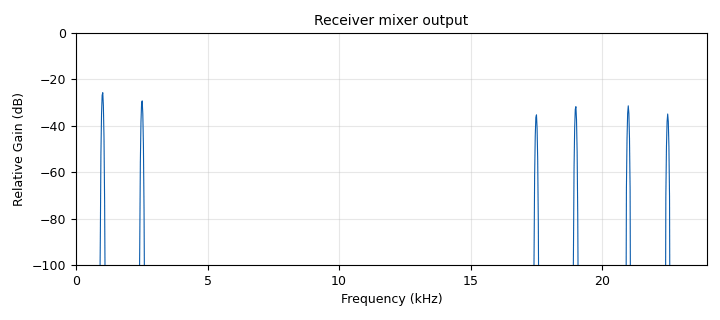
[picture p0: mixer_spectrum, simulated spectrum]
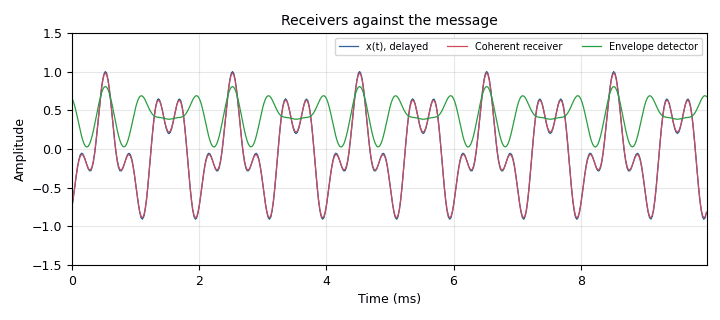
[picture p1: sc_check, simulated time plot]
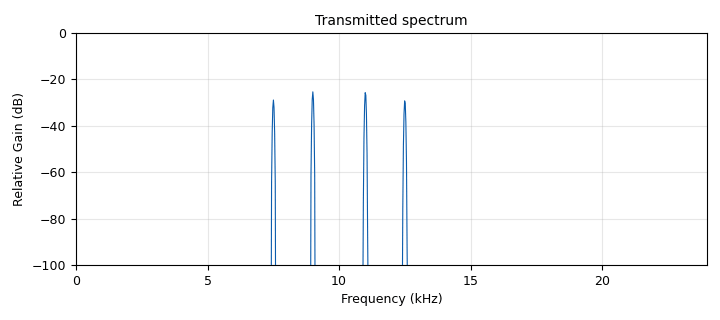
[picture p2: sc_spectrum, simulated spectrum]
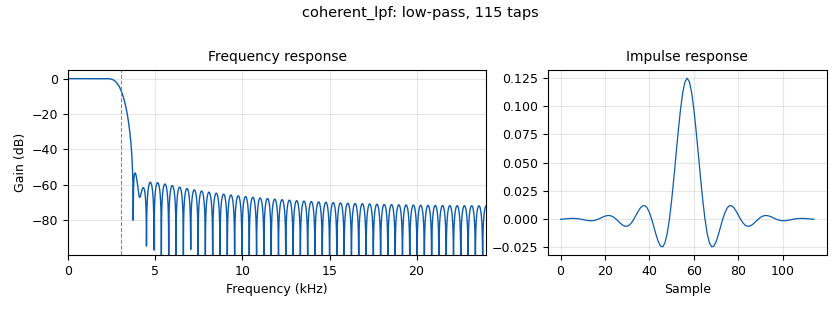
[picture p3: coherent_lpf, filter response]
options:
  parameters:
    author: ECE 448
    description: 'L6: the same message as DSB-SC, with no carrier. A coherent receiver recovers it; an envelope detector cannot. Turn the LO phase toward 90 degrees.'
    generate_options: qt_gui
    id: L06_dsb_sc
    output_language: python
    title: L6 - DSB-SC
  states: {}

blocks:
- name: fc
  id: variable
  parameters:
    value: '10000'
  states: {}
- name: listen
  id: variable_qtgui_chooser
  parameters:
    gui_hint: 0,2,1,1
    label: Listen to
    label0: Coherent
    label1: Envelope
    num_opts: '2'
    option0: '0'
    option1: '1'
    type: int
    value: '0'
  states: {}
- name: lpf_taps
  id: variable_low_pass_filter_taps
  parameters:
    cutoff_freq: '3000'
    gain: '1.0'
    samp_rate: samp_rate
    width: '1000'
    win: window.WIN_HAMMING
  states: {}
- name: phi
  id: variable_qtgui_range
  parameters:
    gui_hint: 0,0,1,1
    label: Receiver LO phase (degrees)
    start: '0'
    step: '5'
    stop: '180'
    value: '0'
  states: {}
- name: samp_rate
  id: variable
  parameters:
    value: '48000'
  states: {}
- name: vol
  id: variable_qtgui_range
  parameters:
    gui_hint: 0,1,1,1
    label: Volume
    start: '0'
    step: '0.05'
    stop: '1'
    value: '0.3'
  states: {}
- name: align
  id: blocks_delay
  parameters:
    delay: len(lpf_taps)//2
    type: float
  states: {}
- name: audio_sink_0
  id: audio_sink
  parameters:
    samp_rate: '48000'
  states: {}
- name: carrier
  id: analog_sig_source_x
  parameters:
    amp: '1'
    freq: fc
    offset: '0'
    phase: '0'
    samp_rate: samp_rate
    type: float
    waveform: analog.GR_COS_WAVE
  states: {}
- name: choose
  id: blocks_selector
  parameters:
    enabled: 'True'
    input_index: int(listen)
    num_inputs: '2'
    num_outputs: '1'
    output_index: '0'
    type: float
  states: {}
- name: coherent_lpf
  id: fir_filter_xxx
  parameters:
    decim: '1'
    taps: lpf_taps
    type: fff
  states: {}
- name: dc_block
  id: dc_blocker_xx
  parameters:
    length: '32'
    long_form: 'True'
    type: ff
  states: {}
- name: envelope_lpf
  id: fir_filter_xxx
  parameters:
    decim: '1'
    taps: lpf_taps
    type: fff
  states: {}
- name: import_numpy
  id: import
  parameters:
    imports: import numpy
  states: {}
- name: local_osc
  id: analog_sig_source_x
  parameters:
    amp: '1'
    freq: fc
    offset: '0'
    phase: phi*numpy.pi/180
    samp_rate: samp_rate
    type: float
    waveform: analog.GR_COS_WAVE
  states: {}
- name: message
  id: blocks_add_xx
  parameters:
    type: float
  states: {}
- name: mixer_spectrum
  id: qtgui_freq_sink_x
  parameters:
    average: '0.2'
    bw: samp_rate
    fc: '0'
    fftsize: '2048'
    freqhalf: 'False'
    grid: 'True'
    gui_hint: 3,0,1,3
    label1: Transmitted
    legend: 'False'
    name: '"Receiver mixer output"'
    type: float
    ymax: '0'
    ymin: '-100'
  states: {}
- name: modulator
  id: blocks_multiply_xx
  parameters:
    type: float
  states: {}
- name: product
  id: blocks_multiply_xx
  parameters:
    type: float
  states: {}
- name: rectifier
  id: blocks_abs_xx
  parameters:
    type: float
  states: {}
- name: sc_check
  id: qtgui_time_sink_x
  parameters:
    color3: dark green
    entags: 'False'
    grid: 'True'
    gui_hint: 2,0,1,3
    label1: x(t), delayed
    label2: Coherent receiver
    label3: Envelope detector
    name: '"Receivers against the message"'
    nconnections: '3'
    size: '480'
    srate: samp_rate
    type: float
    width1: '4'
    width2: '2'
    width3: '2'
    ymax: '1.5'
    ymin: '-1.5'
  states: {}
- name: sc_spectrum
  id: qtgui_freq_sink_x
  parameters:
    average: '0.2'
    bw: samp_rate
    fc: '0'
    fftsize: '2048'
    freqhalf: 'False'
    grid: 'True'
    gui_hint: 1,0,1,3
    label1: Transmitted
    legend: 'False'
    name: '"Transmitted spectrum"'
    type: float
    ymax: '0'
    ymin: '-100'
  states: {}
- name: scale
  id: blocks_multiply_const_vxx
  parameters:
    const: numpy.pi/2
    type: float
  states: {}
- name: times_2
  id: blocks_multiply_const_vxx
  parameters:
    const: '2'
    type: float
  states: {}
- name: tone_1k
  id: analog_sig_source_x
  parameters:
    amp: '0.6'
    freq: '1000'
    offset: '0'
    phase: '0'
    samp_rate: samp_rate
    type: float
    waveform: analog.GR_COS_WAVE
  states: {}
- name: tone_2k5
  id: analog_sig_source_x
  parameters:
    amp: '0.4'
    freq: '2500'
    offset: '0'
    phase: '0'
    samp_rate: samp_rate
    type: float
    waveform: analog.GR_COS_WAVE
  states: {}
- name: volume
  id: blocks_multiply_const_vxx
  parameters:
    const: vol
    type: float
  states: {}

connections:
- [align, '0', sc_check, '0']
- [carrier, '0', modulator, '1']
- [choose, '0', dc_block, '0']
- [coherent_lpf, '0', times_2, '0']
- [dc_block, '0', volume, '0']
- [envelope_lpf, '0', scale, '0']
- [local_osc, '0', product, '1']
- [message, '0', align, '0']
- [message, '0', modulator, '0']
- [modulator, '0', product, '0']
- [modulator, '0', rectifier, '0']
- [modulator, '0', sc_spectrum, '0']
- [product, '0', coherent_lpf, '0']
- [product, '0', mixer_spectrum, '0']
- [rectifier, '0', envelope_lpf, '0']
- [scale, '0', choose, '1']
- [scale, '0', sc_check, '2']
- [times_2, '0', choose, '0']
- [times_2, '0', sc_check, '1']
- [tone_1k, '0', message, '0']
- [tone_2k5, '0', message, '1']
- [volume, '0', audio_sink_0, '0']

metadata:
  file_format: 1
  grc_version: 3.10.9.2
